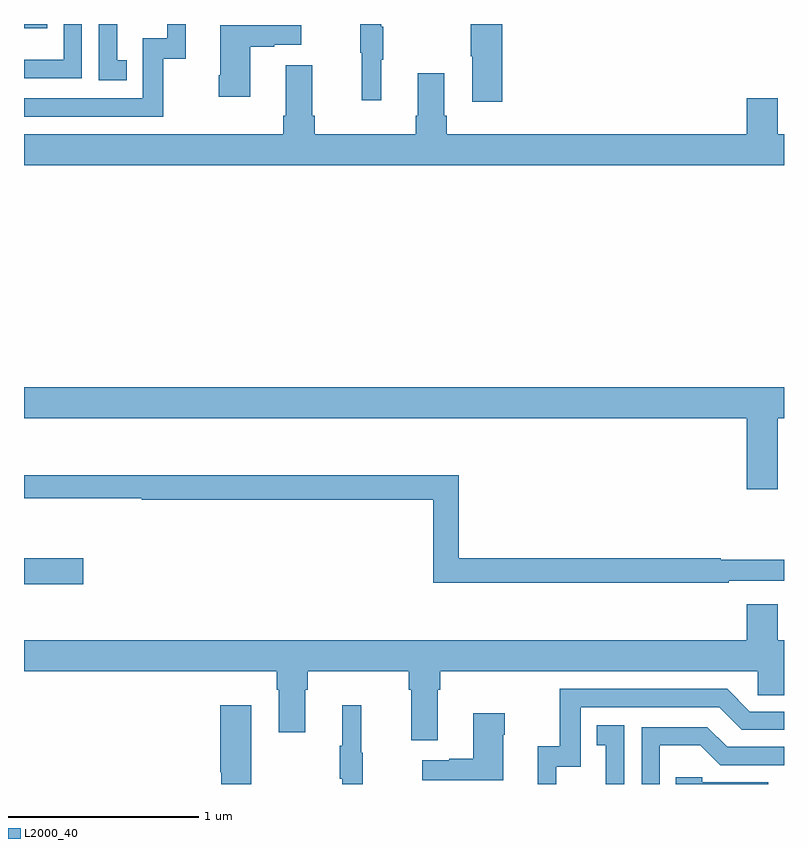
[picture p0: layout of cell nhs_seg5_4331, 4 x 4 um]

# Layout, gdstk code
import gdstk
lib = gdstk.Library(unit=1e-6, precision=1e-09)
def R(c, l, rs):  # rectangles x0, y0, x1, y1
    for r in rs: c.add(gdstk.rectangle(r[:2], r[2:], *l))
def P(c, l, *ps):  # polygons
    for p in ps: c.add(gdstk.Polygon(p, *l))
L2000_40 = (2000, 40)

nhs_seg5_4331 = lib.new_cell('nhs_seg5_4331')
R(nhs_seg5_4331, L2000_40, [(365,891.85,365.311,891.987), (365,894.777,365.123,894.799)])
P(nhs_seg5_4331, L2000_40, [(367.517,894.799),(367.351,894.799),(367.351,894.628),(367.358,894.628),(367.358,894.39),(367.517,894.39)],
  [(366.881,894.611),(366.892,894.611),(366.892,894.785),(366.881,894.785),(366.881,894.799),(366.771,894.799),(366.771,894.648),(366.778,894.648),(366.778,894.399),(366.881,894.399)],
  [(365.304,894.799),(365.208,894.799),(365.208,894.61),(365,894.61),(365,894.513),(365.304,894.513)],
  [(365.54,894.609),(365.491,894.609),(365.491,894.799),(365.394,894.799),(365.394,894.504),(365.54,894.504)],
  [(365.734,894.615),(365.852,894.615),(365.852,894.799),(365.754,894.799),(365.754,894.723),(365.625,894.723),(365.625,894.408),(365,894.408),(365,894.312),(365.734,894.312)],
  [(366.19,894.679),(366.317,894.679),(366.317,894.689),(366.46,894.689),(366.46,894.793),(366.032,894.793),(366.032,894.529),(366.025,894.529),(366.025,894.417),(366.19,894.417)],
  [(369,894.22),(368.968,894.22),(368.968,894.409),(368.804,894.409),(368.804,894.22),(367.226,894.22),(367.226,894.316),(367.213,894.316),(367.213,894.541),(367.073,894.541),(367.073,894.316),(367.061,894.316),(367.061,894.22),(366.53,894.22),(366.53,894.316),(366.517,894.316),(366.517,894.583),(366.377,894.583),(366.377,894.316),(366.365,894.316),(366.365,894.22),(365,894.22),(365,894.056),(369,894.056)],
  [(368.968,892.724),(369,892.724),(369,892.888),(365,892.888),(365,892.724),(368.804,892.724),(368.804,892.35),(368.968,892.35)],
  [(368.708,891.87),(369,891.87),(369,891.979),(368.666,891.979),(368.666,891.986),(367.289,891.986),(367.289,892.423),(365,892.423),(365,892.302),(365.621,892.302),(365.621,892.294),(367.153,892.294),(367.153,891.858),(368.708,891.858)],
  [(367.177,891.296),(367.19,891.296),(367.19,891.392),(368.862,891.392),(368.862,891.265),(369,891.265),(369,891.556),(368.968,891.556),(368.968,891.745),(368.804,891.745),(368.804,891.556),(365,891.556),(365,891.392),(366.329,891.392),(366.329,891.296),(366.341,891.296),(366.341,891.072),(366.481,891.072),(366.481,891.296),(366.494,891.296),(366.494,891.392),(367.025,891.392),(367.025,891.296),(367.037,891.296),(367.037,891.03),(367.177,891.03)],
  [(367.8,890.889),(367.929,890.889),(367.929,891.204),(368.658,891.204),(368.778,891.084),(369,891.084),(369,891.18),(368.82,891.18),(368.7,891.3),(367.821,891.3),(367.821,890.998),(367.703,890.998),(367.703,890.799),(367.8,890.799)],
  [(366.784,890.964),(366.776,890.964),(366.776,891.214),(366.674,891.214),(366.674,891.001),(366.663,891.001),(366.663,890.827),(366.674,890.827),(366.674,890.799),(366.784,890.799)],
  [(366.196,891.214),(366.032,891.214),(366.032,890.862),(366.038,890.862),(366.038,890.799),(366.196,890.799)],
  [(367.522,891.059),(367.53,891.059),(367.53,891.172),(367.364,891.172),(367.364,890.933),(367.238,890.933),(367.238,890.923),(367.095,890.923),(367.095,890.819),(367.522,890.819)],
  [(368.16,891.109),(368.014,891.109),(368.014,891.003),(368.063,891.003),(368.063,890.799),(368.16,890.799)],
  [(368.346,891.002),(368.56,891.002),(368.664,890.898),(369,890.898),(369,890.994),(368.701,890.994),(368.596,891.099),(368.25,891.099),(368.25,890.799),(368.346,890.799)],
  [(368.916,890.808),(368.571,890.808),(368.571,890.835),(368.431,890.835),(368.431,890.799),(368.916,890.799)])

lib.write_gds('nhs_seg5_4331.gds')
